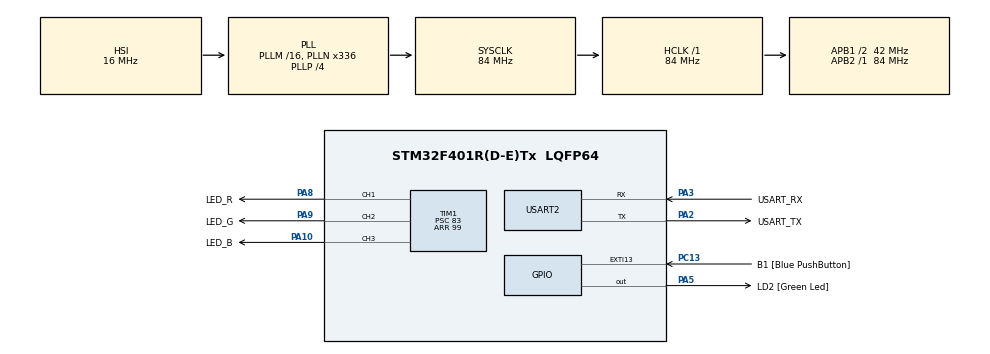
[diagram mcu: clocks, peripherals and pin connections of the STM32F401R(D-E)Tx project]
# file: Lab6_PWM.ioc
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Mcu.Family=STM32F4
Mcu.Name=STM32F401R(D-E)Tx
Mcu.Package=LQFP64
NVIC.PriorityGroup=NVIC_PRIORITYGROUP_0
NVIC.TIM1_UP_TIM10_IRQn=true\:0\:0\:false\:false\:true\:true\:true\:true
PA10.GPIO_Label=LED_B
PA10.Signal=S_TIM1_CH3
PA13.GPIO_Label=TMS
PA13.Mode=Serial_Wire
PA13.Signal=SYS_JTMS-SWDIO
PA14.GPIO_Label=TCK
PA14.Mode=Serial_Wire
PA14.Signal=SYS_JTCK-SWCLK
PA2.GPIO_Label=USART_TX
PA2.GPIO_Mode=GPIO_MODE_AF_PP
PA2.GPIO_PuPd=GPIO_NOPULL
PA2.GPIO_Speed=GPIO_SPEED_FREQ_LOW
PA2.Mode=Asynchronous
PA2.Signal=USART2_TX
PA3.GPIO_Label=USART_RX
PA3.GPIO_Mode=GPIO_MODE_AF_PP
PA3.GPIO_PuPd=GPIO_NOPULL
PA3.GPIO_Speed=GPIO_SPEED_FREQ_LOW
PA3.Mode=Asynchronous
PA3.Signal=USART2_RX
PA5.GPIO_Label=LD2 [Green Led]
PA5.GPIO_Mode=GPIO_MODE_OUTPUT_PP
PA5.GPIO_PuPd=GPIO_NOPULL
PA5.GPIO_Speed=GPIO_SPEED_FREQ_LOW
PA5.Signal=GPIO_Output
PA8.GPIO_Label=LED_R
PA8.Signal=S_TIM1_CH1
PA9.GPIO_Label=LED_G
PA9.Signal=S_TIM1_CH2
PB3.GPIO_Label=SWO
PB3.Signal=SYS_JTDO-SWO
PC13-ANTI_TAMP.GPIO_Label=B1 [Blue PushButton]
PC13-ANTI_TAMP.GPIO_ModeDefaultEXTI=GPIO_MODE_IT_FALLING
PC13-ANTI_TAMP.GPIO_PuPd=GPIO_NOPULL
PC13-ANTI_TAMP.Signal=GPXTI13
PC14-OSC32_IN.Mode=LSE-External-Oscillator
PC14-OSC32_IN.Signal=RCC_OSC32_IN
PC15-OSC32_OUT.Mode=LSE-External-Oscillator
PC15-OSC32_OUT.Signal=RCC_OSC32_OUT
PH0\ -\ OSC_IN.Mode=HSE-External-Clock-Source
PH0\ -\ OSC_IN.Signal=RCC_OSC_IN
PH1\ -\ OSC_OUT.Mode=HSE-External-Clock-Source
PH1\ -\ OSC_OUT.Signal=RCC_OSC_OUT
ProjectManager.HeapSize=0x200
ProjectManager.StackSize=0x400
ProjectManager.TargetToolchain=STM32CubeIDE
RCC.48MHZClocksFreq_Value=48000000
RCC.AHBFreq_Value=84000000
RCC.APB1CLKDivider=RCC_HCLK_DIV2
RCC.APB1Freq_Value=42000000
RCC.APB1TimFreq_Value=84000000
RCC.APB2Freq_Value=84000000
RCC.APB2TimFreq_Value=84000000
RCC.CortexFreq_Value=84000000
RCC.HCLKFreq_Value=84000000
RCC.HSE_VALUE=8000000
RCC.HSI_VALUE=16000000
RCC.PLLN=336
RCC.PLLP=RCC_PLLP_DIV4
RCC.PLLQ=7
RCC.SYSCLKFreq_VALUE=84000000
RCC.SYSCLKSource=RCC_SYSCLKSOURCE_PLLCLK
RCC.VCOOutputFreq_Value=336000000
SH.S_TIM1_CH1.0=TIM1_CH1,PWM Generation1 CH1
SH.S_TIM1_CH2.0=TIM1_CH2,PWM Generation2 CH2
SH.S_TIM1_CH3.0=TIM1_CH3,PWM Generation3 CH3
TIM1.Channel-PWM\ Generation1\ CH1=TIM_CHANNEL_1
TIM1.Channel-PWM\ Generation2\ CH2=TIM_CHANNEL_2
TIM1.Channel-PWM\ Generation3\ CH3=TIM_CHANNEL_3
TIM1.Period=99
TIM1.Prescaler=83
USART2.VirtualMode=VM_ASYNC
VP_TIM1_VS_ClockSourceINT.Mode=Internal
board=NUCLEO-F401RE

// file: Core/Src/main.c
/* USER CODE BEGIN Header */
/**
  ******************************************************************************
  * @file           : main.c
  * @brief          : Main program body
  ******************************************************************************
  * @attention
  *
  * Copyright (c) 2024 STMicroelectronics.
  * All rights reserved.
  *
  * This software is licensed under terms that can be found in the LICENSE file
  * in the root directory of this software component.
  * If no LICENSE file comes with this software, it is provided AS-IS.
  *
  ******************************************************************************
  */
/* USER CODE END Header */
#include "main.h"

/* USER CODE BEGIN Includes */
#include <math.h>
#define LED_R TIM_CHANNEL_1
#define LED_G TIM_CHANNEL_2
#define LED_B TIM_CHANNEL_3
/* USER CODE END Includes */

TIM_HandleTypeDef htim1;

UART_HandleTypeDef huart2;

/* USER CODE BEGIN PV */
uint8_t isr_count = 0;
float t = 0.0f;

/* USER CODE END PV */

void SystemClock_Config(void);
static void MX_GPIO_Init(void);
static void MX_USART2_UART_Init(void);
static void MX_TIM1_Init(void);

/* USER CODE BEGIN 0 */
void HAL_TIM_PeriodElapsedCallback(TIM_HandleTypeDef *htim)
{
	 if (htim->Instance == TIM1)
	    {
	        isr_count++;  // Increment ISR count each time the timer overflows
			t += 0.0001f;

	    }
}
/* USER CODE END 0 */

int main(void)
{

  /* MCU Configuration--------------------------------------------------------*/

  /* Reset of all peripherals, Initializes the Flash interface and the Systick. */
  HAL_Init();

  /* Configure the system clock */
  SystemClock_Config();

  /* Initialize all configured peripherals */
  MX_GPIO_Init();
  MX_USART2_UART_Init();
  MX_TIM1_Init();
  /* USER CODE BEGIN 2 */
  HAL_TIM_Base_Start_IT(&htim1);
  HAL_TIM_PWM_Start(&htim1, LED_R);
  HAL_TIM_PWM_Start(&htim1, LED_G);
  HAL_TIM_PWM_Start(&htim1, LED_B);

  const float freq = 1.0f;
  const float offset = M_TWOPI / 3.0f; // Fasförskjutning mellan färgerna
  const float half_arr = (99 + 1) / 2.0f;
  float rf, gf, bf;
  //uint32_t duty = 0;
  /* USER CODE END 2 */

  /* Infinite loop */
  /* USER CODE BEGIN WHILE */
  while (1)
  {

		//duty = (isr_count/15) % 1000;  // Mjukare övergång av intensitet

		rf = sinf(M_TWOPI * t * freq) + (0 * offset);          // Röd komponent
		gf = sinf(M_TWOPI * t * freq) + (1 * offset);  // Grön komponent
		bf = sinf(M_TWOPI * t * freq) + (2 * offset);
		rf = (rf + 1.0f) * half_arr;  // Röd värde mellan 0 och ARR
		gf = (gf + 1.0f) * half_arr;  // Grön värde mellan 0 och ARR
		bf = (bf + 1.0f) * half_arr;
		__HAL_TIM_SET_COMPARE(&htim1, LED_G, rf);
		__HAL_TIM_SET_COMPARE(&htim1, LED_R, gf ); // Grön LED
		__HAL_TIM_SET_COMPARE(&htim1, LED_B, bf); // Blå LED
    /* USER CODE END WHILE */

  }
}

void SystemClock_Config(void)
{
  RCC_OscInitTypeDef RCC_OscInitStruct = {0};
  RCC_ClkInitTypeDef RCC_ClkInitStruct = {0};

  /** Configure the main internal regulator output voltage
  */
  __HAL_RCC_PWR_CLK_ENABLE();
  __HAL_PWR_VOLTAGESCALING_CONFIG(PWR_REGULATOR_VOLTAGE_SCALE2);

  /** Initializes the RCC Oscillators according to the specified parameters
  * in the RCC_OscInitTypeDef structure.
  */
  RCC_OscInitStruct.OscillatorType = RCC_OSCILLATORTYPE_HSI;
  RCC_OscInitStruct.HSIState = RCC_HSI_ON;
  RCC_OscInitStruct.HSICalibrationValue = RCC_HSICALIBRATION_DEFAULT;
  RCC_OscInitStruct.PLL.PLLState = RCC_PLL_ON;
  RCC_OscInitStruct.PLL.PLLSource = RCC_PLLSOURCE_HSI;
  RCC_OscInitStruct.PLL.PLLM = 16;
  RCC_OscInitStruct.PLL.PLLN = 336;
  RCC_OscInitStruct.PLL.PLLP = RCC_PLLP_DIV4;
  RCC_OscInitStruct.PLL.PLLQ = 7;
  if (HAL_RCC_OscConfig(&RCC_OscInitStruct) != HAL_OK)
  {
    Error_Handler();
  }

  /** Initializes the CPU, AHB and APB buses clocks
  */
  RCC_ClkInitStruct.ClockType = RCC_CLOCKTYPE_HCLK|RCC_CLOCKTYPE_SYSCLK
                              |RCC_CLOCKTYPE_PCLK1|RCC_CLOCKTYPE_PCLK2;
  RCC_ClkInitStruct.SYSCLKSource = RCC_SYSCLKSOURCE_PLLCLK;
  RCC_ClkInitStruct.AHBCLKDivider = RCC_SYSCLK_DIV1;
  RCC_ClkInitStruct.APB1CLKDivider = RCC_HCLK_DIV2;
  RCC_ClkInitStruct.APB2CLKDivider = RCC_HCLK_DIV1;

  if (HAL_RCC_ClockConfig(&RCC_ClkInitStruct, FLASH_LATENCY_2) != HAL_OK)
  {
    Error_Handler();
  }
}

static void MX_TIM1_Init(void)
{

  TIM_ClockConfigTypeDef sClockSourceConfig = {0};
  TIM_MasterConfigTypeDef sMasterConfig = {0};
  TIM_OC_InitTypeDef sConfigOC = {0};
  TIM_BreakDeadTimeConfigTypeDef sBreakDeadTimeConfig = {0};

  htim1.Instance = TIM1;
  htim1.Init.Prescaler = 83;
  htim1.Init.CounterMode = TIM_COUNTERMODE_UP;
  htim1.Init.Period = 99;
  htim1.Init.ClockDivision = TIM_CLOCKDIVISION_DIV1;
  htim1.Init.RepetitionCounter = 0;
  htim1.Init.AutoReloadPreload = TIM_AUTORELOAD_PRELOAD_DISABLE;
  if (HAL_TIM_Base_Init(&htim1) != HAL_OK)
  {
    Error_Handler();
  }
  sClockSourceConfig.ClockSource = TIM_CLOCKSOURCE_INTERNAL;
  if (HAL_TIM_ConfigClockSource(&htim1, &sClockSourceConfig) != HAL_OK)
  {
    Error_Handler();
  }
  if (HAL_TIM_PWM_Init(&htim1) != HAL_OK)
  {
    Error_Handler();
  }
  sMasterConfig.MasterOutputTrigger = TIM_TRGO_RESET;
  sMasterConfig.MasterSlaveMode = TIM_MASTERSLAVEMODE_DISABLE;
  if (HAL_TIMEx_MasterConfigSynchronization(&htim1, &sMasterConfig) != HAL_OK)
  {
    Error_Handler();
  }
  sConfigOC.OCMode = TIM_OCMODE_PWM1;
  sConfigOC.Pulse = 0;
  sConfigOC.OCPolarity = TIM_OCPOLARITY_HIGH;
  sConfigOC.OCNPolarity = TIM_OCNPOLARITY_HIGH;
  sConfigOC.OCFastMode = TIM_OCFAST_DISABLE;
  sConfigOC.OCIdleState = TIM_OCIDLESTATE_RESET;
  sConfigOC.OCNIdleState = TIM_OCNIDLESTATE_RESET;
  if (HAL_TIM_PWM_ConfigChannel(&htim1, &sConfigOC, TIM_CHANNEL_1) != HAL_OK)
  {
    Error_Handler();
  }
  if (HAL_TIM_PWM_ConfigChannel(&htim1, &sConfigOC, TIM_CHANNEL_2) != HAL_OK)
  {
    Error_Handler();
  }
  if (HAL_TIM_PWM_ConfigChannel(&htim1, &sConfigOC, TIM_CHANNEL_3) != HAL_OK)
  {
    Error_Handler();
  }
  sBreakDeadTimeConfig.OffStateRunMode = TIM_OSSR_DISABLE;
  sBreakDeadTimeConfig.OffStateIDLEMode = TIM_OSSI_DISABLE;
  sBreakDeadTimeConfig.LockLevel = TIM_LOCKLEVEL_OFF;
  sBreakDeadTimeConfig.DeadTime = 0;
  sBreakDeadTimeConfig.BreakState = TIM_BREAK_DISABLE;
  sBreakDeadTimeConfig.BreakPolarity = TIM_BREAKPOLARITY_HIGH;
  sBreakDeadTimeConfig.AutomaticOutput = TIM_AUTOMATICOUTPUT_DISABLE;
  if (HAL_TIMEx_ConfigBreakDeadTime(&htim1, &sBreakDeadTimeConfig) != HAL_OK)
  {
    Error_Handler();
  }
  HAL_TIM_MspPostInit(&htim1);

}

static void MX_USART2_UART_Init(void)
{

  huart2.Instance = USART2;
  huart2.Init.BaudRate = 115200;
  huart2.Init.WordLength = UART_WORDLENGTH_8B;
  huart2.Init.StopBits = UART_STOPBITS_1;
  huart2.Init.Parity = UART_PARITY_NONE;
  huart2.Init.Mode = UART_MODE_TX_RX;
  huart2.Init.HwFlowCtl = UART_HWCONTROL_NONE;
  huart2.Init.OverSampling = UART_OVERSAMPLING_16;
  if (HAL_UART_Init(&huart2) != HAL_OK)
  {
    Error_Handler();
  }

}

static void MX_GPIO_Init(void)
{
  GPIO_InitTypeDef GPIO_InitStruct = {0};

  /* GPIO Ports Clock Enable */
  __HAL_RCC_GPIOC_CLK_ENABLE();
  __HAL_RCC_GPIOH_CLK_ENABLE();
  __HAL_RCC_GPIOA_CLK_ENABLE();
  __HAL_RCC_GPIOB_CLK_ENABLE();

  /*Configure GPIO pin Output Level */
  HAL_GPIO_WritePin(LD2_GPIO_Port, LD2_Pin, GPIO_PIN_RESET);

  /*Configure GPIO pin : B1_Pin */
  GPIO_InitStruct.Pin = B1_Pin;
  GPIO_InitStruct.Mode = GPIO_MODE_IT_FALLING;
  GPIO_InitStruct.Pull = GPIO_NOPULL;
  HAL_GPIO_Init(B1_GPIO_Port, &GPIO_InitStruct);

  /*Configure GPIO pin : LD2_Pin */
  GPIO_InitStruct.Pin = LD2_Pin;
  GPIO_InitStruct.Mode = GPIO_MODE_OUTPUT_PP;
  GPIO_InitStruct.Pull = GPIO_NOPULL;
  GPIO_InitStruct.Speed = GPIO_SPEED_FREQ_LOW;
  HAL_GPIO_Init(LD2_GPIO_Port, &GPIO_InitStruct);

}

void Error_Handler(void)
{
  __disable_irq();
  while (1)
  {
  }
}
